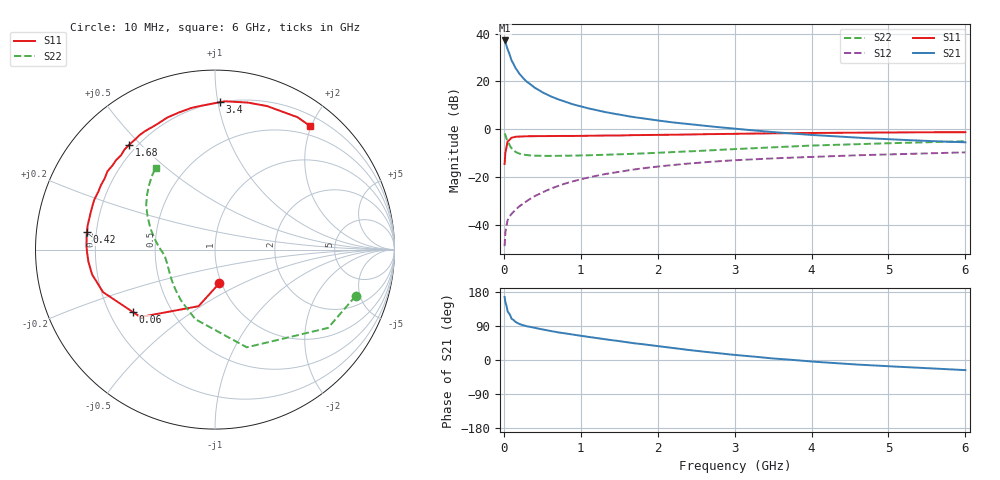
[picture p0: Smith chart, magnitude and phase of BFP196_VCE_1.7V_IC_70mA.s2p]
! Infineon Technologies  Discrete & RF Semiconductors
! BFP196
! VCE = 1.7 V,  IC =  70mA
! Common Emitter S-Parameters:  Jan 2016
# GHz  S  MA  R  50
!  f  S11  S21  S12  S22
! GHz  MAG  ANG  MAG  ANG  MAG  ANG  MAG  ANG
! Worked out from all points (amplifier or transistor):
!   210 points, 10 MHz to 6 GHz, reference 50 ohm
!   highest |S21| = 37.2 dB at 10 MHz (marker M1)
!   |S21| within 3 dB of that: start of sweep to 41.44 MHz
!   unconditionally stable (mu >= 1): 352.8 MHz to 5.301 GHz
!   at 185 MHz: K = 0.82, MSG = 28.4 dB, |S12| = -32.7 dB
!   at 1.52 GHz: K = 1.10, MAG = 10.0 dB, |S12| = -17.6 dB
!   at 6 GHz: K = 1.00, MSG = 2.1 dB, |S12| = -9.6 dB
!   S11 on the Smith chart (normalised r, x): 10 MHz: 0.98, -0.38; 60 MHz: 0.30, -0.31; 420 MHz: 0.16, +0.07; 1.68 GHz: 0.17, +0.46; 3.4 GHz: 0.20, +1.01; 6 GHz: 0.35, +1.98
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0.01  0.1888 -82.6  72.09 166.1  0.0036 78.0  0.8247 -18.3
0.02  0.3283 -106.2  66.03 152.8  0.007 67.9  0.7664 -34.7
0.05  0.5605 -137.9  46.63 127.7  0.0128 52.5  0.5724 -72.0
0.06  0.5748 -142.7  42.59 125.3  0.0137 52.1  0.5267 -76.9
0.1  0.6673 -159.2  27.7 109.1  0.0171 50.9  0.4028 -105.9
0.15  0.6984 -168.5  19.25 100.6  0.0205 52.8  0.3394 -124.3
0.2  0.7084 -174.4  14.66 95.2  0.0244 56.3  0.3112 -135.7
0.26  0.7133 -179.0  11.35 91.2  0.0286 59.6  0.2947 -145.0
0.3  0.7161 178.5  9.835 89.0  0.0318 61.2  0.2888 -149.1
0.4  0.7202 173.1  7.433 84.5  0.0399 63.9  0.281 -156.9
0.42  0.7203 172.3  7.134 83.9  0.0414 64.2  0.2803 -157.9
0.5  0.7221 169.3  5.949 80.7  0.0475 65.0  0.2781 -161.8
0.68  0.7238 161.9  4.406 73.9  0.0632 65.2  0.2785 -167.1
0.8  0.7276 157.7  3.744 70.1  0.0736 64.1  0.2801 -169.7
1.02  0.7301 149.8  2.95 63.3  0.0917 62.4  0.2845 -173.5
1.68  0.7547 129.2  1.807 44.6  0.1433 53.3  0.3073 178.1
2.02  0.7664 120.2  1.516 36.1  0.1677 48.0  0.324 174.1
3.1  0.8074 93.9  0.994 11.6  0.2297 31.4  0.3918 158.8
3.4  0.8215 88.1  0.903 6.1  0.2425 27.2  0.4134 154.7
4.1  0.8405 75.9  0.746 -5.3  0.2689 18.4  0.4624 145.8
5.1  0.8578 62.6  0.61 -17.5  0.3021 7.1  0.5161 135.1
6  0.8687 52.4  0.535 -26.7  0.3298 -2.8  0.5627 126.0
